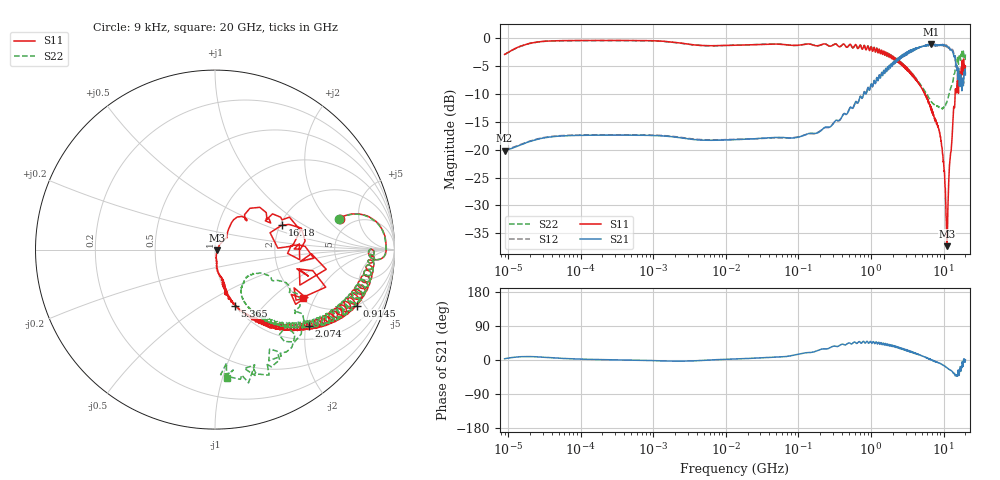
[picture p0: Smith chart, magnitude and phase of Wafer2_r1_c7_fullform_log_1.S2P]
!  2-Port S-parameters saved by WinCal
! VAR MeasName=S-Parameters (CALIBRATED_DATA) read from VNA (P5004A)
! VAR MeasDate=26/04/2024 19:09:09
! VAR NAME=Wafer2_r1_c7_fullform_log
! VAR FILENAME=Wafer2_r1_c7_fullform_log_1.S2P
! VAR DATE=26/04/2024 19:09:16
! VAR PHYS_PORTS=1,2
! VAR ObjTypeName=DATASET
! VAR IndexType=Frequency
# Hz S MA R 50
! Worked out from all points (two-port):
!   2000 points, 9 kHz to 20 GHz, reference 50 ohm
!   highest |S21| = -1.05 dB at 6.778 GHz (marker M1); lowest = -20.2 dB at 9 kHz (marker M2)
!   |S21| within 3 dB of the highest: 2.256 GHz to 2.327 GHz (70.86 MHz wide, 3.09 % of centre); 2.336 GHz to 14.57 GHz (12.24 GHz wide, 145 % of centre)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
!   lowest |S11| = -37.3 dB at 11.14 GHz (marker M3), VSWR 1.03, Z = 51.3 - j0.455 ohm
!   |S11| at or under -10 dB: 5.518236 GHz to 5.533591 GHz (15.35 MHz wide, 0.278 % of centre); 5.57 GHz to 14.43 GHz (8.862 GHz wide, 88.6 % of centre)
!   |S22| runs from -12.7 to -0.4 dB; largest |S21 - S12| = 0.053
!   S11 on the Smith chart (normalised r, x): 9 kHz: 3.96, +2.80; 914.5 MHz: 1.96, -4.39; 2.074 GHz: 1.34, -2.07; 5.365 GHz: 1.00, -0.70; 16.18 GHz: 2.04, +0.66; 20 GHz: 2.06, -1.63
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9000  0.7152 13.9  0.098 3.2  0.09919 2.4  0.7143 13.8
26749.44  0.9287 8.2  0.1249 8.0  0.1257 7.8  0.9267 8.1
103439.5  0.953 1.9  0.1344 2.3  0.1356 2.3  0.9515 1.9
1180198  0.9447 -2.2  0.1335 -2.1  0.1345 -1.9  0.9431 -2.3
1.346554e7  0.8651 0.1  0.1229 2.7  0.1238 2.3  0.8642 0.1
1.536358e8  0.8758 -4.8  0.1403 20.3  0.1389 20.4  0.8774 -4.7
3.721048e8  0.8387 -8.6  0.1842 38.9  0.1846 39.3  0.8394 -8.5
9.145089e8  0.8487 -21.7  0.3618 46.0  0.3612 46.0  0.8494 -21.1
1.752917e9  0.6831 -34.7  0.5266 40.7  0.5291 40.6  0.6829 -33.8
2.07389e9  0.6719 -39.1  0.6108 37.9  0.6101 37.7  0.6705 -37.6
5.364551e9  0.3314 -70.4  0.8542 8.9  0.8526 8.6  0.3446 -60.5
6.778487e9  0.2386 -76.7  0.8858 0.3  0.8862 -0.1  0.2688 -57.1
9.080965e9  0.1312 -82.9  0.8724 -9.9  0.8763 -10.2  0.2353 -45.4
9.841398e9  0.08369 -83.1  0.8681 -13.3  0.864 -12.7  0.2358 -39.3
1.066551e10  0.03643 -78.3  0.8595 -17.7  0.8686 -16.8  0.25 -32.6
1.114375e10  0.01362 -19.0  0.8483 -20.4  0.8332 -19.8  0.2709 -29.3
1.164344e10  0.03986 46.7  0.8305 -23.4  0.8146 -22.9  0.2977 -26.3
1.280431e10  0.1032 50.0  0.7867 -28.1  0.787 -29.6  0.3681 -28.1
1.428831e10  0.2552 49.8  0.6969 -37.0  0.7156 -39.1  0.4893 -28.8
1.617914e10  0.3962 20.0  0.5 -37.4  0.5 -39.2  0.6501 -46.7
1.766263e10  0.5522 -4.9  0.385 -17.0  0.3692 -22.9  0.7032 -65.5
2e10  0.5608 -28.9  0.4687 0.5  0.475 3.8  0.72 -84.9
